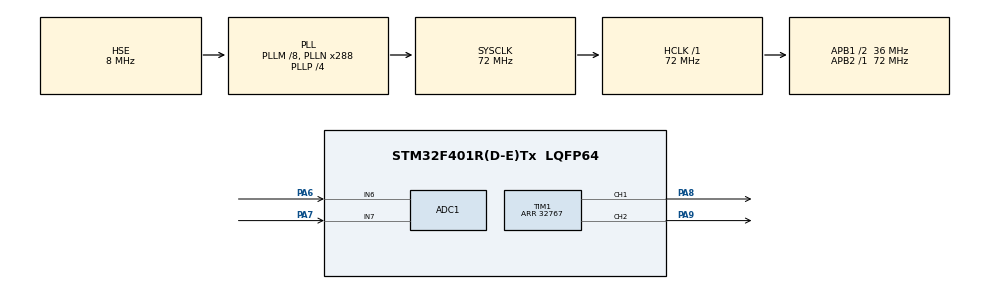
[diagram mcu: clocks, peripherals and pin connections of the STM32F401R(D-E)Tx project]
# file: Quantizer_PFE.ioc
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ADC1.Channel-4\#ChannelRegularConversion=ADC_CHANNEL_6
ADC1.Channel-5\#ChannelRegularConversion=ADC_CHANNEL_7
ADC1.ContinuousConvMode=ENABLE
ADC1.DMAContinuousRequests=ENABLE
ADC1.NbrOfConversion=2
ADC1.NbrOfConversionFlag=1
ADC1.Rank-4\#ChannelRegularConversion=1
ADC1.Rank-5\#ChannelRegularConversion=2
ADC1.SamplingTime-4\#ChannelRegularConversion=ADC_SAMPLETIME_480CYCLES
ADC1.SamplingTime-5\#ChannelRegularConversion=ADC_SAMPLETIME_480CYCLES
ADC1.ScanConvMode=ENABLE
ADC1.master=1
Dma.ADC1.0.Direction=DMA_PERIPH_TO_MEMORY
Dma.ADC1.0.FIFOMode=DMA_FIFOMODE_DISABLE
Dma.ADC1.0.Instance=DMA2_Stream0
Dma.ADC1.0.MemDataAlignment=DMA_MDATAALIGN_WORD
Dma.ADC1.0.MemInc=DMA_MINC_ENABLE
Dma.ADC1.0.Mode=DMA_CIRCULAR
Dma.ADC1.0.PeriphDataAlignment=DMA_PDATAALIGN_WORD
Dma.ADC1.0.PeriphInc=DMA_PINC_DISABLE
Dma.ADC1.0.Priority=DMA_PRIORITY_LOW
Dma.Request0=ADC1
Mcu.Family=STM32F4
Mcu.Name=STM32F401R(D-E)Tx
Mcu.Package=LQFP64
NVIC.DMA2_Stream0_IRQn=true\:0\:0\:false\:false\:true\:false\:true\:true
NVIC.PriorityGroup=NVIC_PRIORITYGROUP_4
PA6.Signal=ADCx_IN6
PA7.Signal=ADCx_IN7
PA8.Signal=S_TIM1_CH1
PA9.Signal=S_TIM1_CH2
PC14-OSC32_IN.Mode=LSE-External-Oscillator
PC14-OSC32_IN.Signal=RCC_OSC32_IN
PC15-OSC32_OUT.Mode=LSE-External-Oscillator
PC15-OSC32_OUT.Signal=RCC_OSC32_OUT
PH0\ -\ OSC_IN.Mode=HSE-External-Oscillator
PH0\ -\ OSC_IN.Signal=RCC_OSC_IN
PH1\ -\ OSC_OUT.Mode=HSE-External-Oscillator
PH1\ -\ OSC_OUT.Signal=RCC_OSC_OUT
ProjectManager.HeapSize=0x200
ProjectManager.StackSize=0x400
ProjectManager.TargetToolchain=STM32CubeIDE
RCC.48MHZClocksFreq_Value=41142857.14285714
RCC.AHBFreq_Value=72000000
RCC.APB1CLKDivider=RCC_HCLK_DIV2
RCC.APB1Freq_Value=36000000
RCC.APB1TimFreq_Value=72000000
RCC.APB2Freq_Value=72000000
RCC.APB2TimFreq_Value=72000000
RCC.CortexFreq_Value=72000000
RCC.HCLKFreq_Value=72000000
RCC.HSE_VALUE=8000000
RCC.HSI_VALUE=16000000
RCC.PLLM=8
RCC.PLLN=288
RCC.PLLP=RCC_PLLP_DIV4
RCC.PLLQ=7
RCC.PLLSourceVirtual=RCC_PLLSOURCE_HSE
RCC.SYSCLKFreq_VALUE=72000000
RCC.SYSCLKSource=RCC_SYSCLKSOURCE_PLLCLK
RCC.VCOOutputFreq_Value=288000000
SH.ADCx_IN6.0=ADC1_IN6,IN6
SH.ADCx_IN7.0=ADC1_IN7,IN7
SH.S_TIM1_CH1.0=TIM1_CH1,PWM Generation1 CH1
SH.S_TIM1_CH2.0=TIM1_CH2,PWM Generation2 CH2
TIM1.AutoReloadPreload=TIM_AUTORELOAD_PRELOAD_ENABLE
TIM1.Channel-PWM\ Generation1\ CH1=TIM_CHANNEL_1
TIM1.Channel-PWM\ Generation2\ CH2=TIM_CHANNEL_2
TIM1.Period=32767
board=NUCLEO-F401RE

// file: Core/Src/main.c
/* USER CODE BEGIN Header */
/**
  ******************************************************************************
  * @file           : main.c
  * @brief          : Main program body
  ******************************************************************************
  * @attention
  *
  * Copyright (c) 2026 STMicroelectronics.
  * All rights reserved.
  *
  * This software is licensed under terms that can be found in the LICENSE file
  * in the root directory of this software component.
  * If no LICENSE file comes with this software, it is provided AS-IS.
  *
  ******************************************************************************
  */
/* USER CODE END Header */
#include "main.h"

/* USER CODE BEGIN PD */
#define QUANTIZE_LEVELS 10

uint32_t AD_RES_BUFFER[2];
uint32_t QUANTIZE_REF[3][10] = { { 0, 400, 800, 1200, 1600, 2000, 2400, 2800, 3200, 4000 },
								 { 0, 10,  20,  40,   80,   160,  380,  760,  1520, 3040 },
								 { 0, 100,  100, 1000,  1000,  2000,  2000,  2500,  2500, 3040 }
};  //Prototype : on peut quantizer sur 3 valeurs, 0% 50% et 100% de Vref

uint16_t temp_ad_res1 = 0;
uint16_t temp_ad_res2 = 0;
uint16_t scale = 0;

/* USER CODE END PD */

ADC_HandleTypeDef hadc1;
DMA_HandleTypeDef hdma_adc1;

TIM_HandleTypeDef htim1;

void SystemClock_Config(void);
static void MX_GPIO_Init(void);
static void MX_DMA_Init(void);
static void MX_ADC1_Init(void);
static void MX_TIM1_Init(void);

int main(void)
{

  /* MCU Configuration--------------------------------------------------------*/

  /* Reset of all peripherals, Initializes the Flash interface and the Systick. */
  HAL_Init();

  /* Configure the system clock */
  SystemClock_Config();

  /* Initialize all configured peripherals */
  MX_GPIO_Init();
  MX_DMA_Init();
  MX_ADC1_Init();
  MX_TIM1_Init();
  /* USER CODE BEGIN 2 */
  HAL_TIM_PWM_Start(&htim1, TIM_CHANNEL_1);
  HAL_TIM_PWM_Start(&htim1, TIM_CHANNEL_2);
  HAL_ADC_Start_DMA(&hadc1, AD_RES_BUFFER, 2);

  /* USER CODE END 2 */

  /* Infinite loop */
  while (1)
  {

  }
}

void SystemClock_Config(void)
{
  RCC_OscInitTypeDef RCC_OscInitStruct = {0};
  RCC_ClkInitTypeDef RCC_ClkInitStruct = {0};

  /** Configure the main internal regulator output voltage
  */
  __HAL_RCC_PWR_CLK_ENABLE();
  __HAL_PWR_VOLTAGESCALING_CONFIG(PWR_REGULATOR_VOLTAGE_SCALE2);

  /** Initializes the RCC Oscillators according to the specified parameters
  * in the RCC_OscInitTypeDef structure.
  */
  RCC_OscInitStruct.OscillatorType = RCC_OSCILLATORTYPE_HSE;
  RCC_OscInitStruct.HSEState = RCC_HSE_ON;
  RCC_OscInitStruct.PLL.PLLState = RCC_PLL_ON;
  RCC_OscInitStruct.PLL.PLLSource = RCC_PLLSOURCE_HSE;
  RCC_OscInitStruct.PLL.PLLM = 8;
  RCC_OscInitStruct.PLL.PLLN = 288;
  RCC_OscInitStruct.PLL.PLLP = RCC_PLLP_DIV4;
  RCC_OscInitStruct.PLL.PLLQ = 7;
  if (HAL_RCC_OscConfig(&RCC_OscInitStruct) != HAL_OK)
  {
    Error_Handler();
  }

  /** Initializes the CPU, AHB and APB buses clocks
  */
  RCC_ClkInitStruct.ClockType = RCC_CLOCKTYPE_HCLK|RCC_CLOCKTYPE_SYSCLK
                              |RCC_CLOCKTYPE_PCLK1|RCC_CLOCKTYPE_PCLK2;
  RCC_ClkInitStruct.SYSCLKSource = RCC_SYSCLKSOURCE_PLLCLK;
  RCC_ClkInitStruct.AHBCLKDivider = RCC_SYSCLK_DIV1;
  RCC_ClkInitStruct.APB1CLKDivider = RCC_HCLK_DIV2;
  RCC_ClkInitStruct.APB2CLKDivider = RCC_HCLK_DIV1;

  if (HAL_RCC_ClockConfig(&RCC_ClkInitStruct, FLASH_LATENCY_2) != HAL_OK)
  {
    Error_Handler();
  }
}

static void MX_ADC1_Init(void)
{

  ADC_ChannelConfTypeDef sConfig = {0};

  /** Configure the global features of the ADC (Clock, Resolution, Data Alignment and number of conversion)
  */
  hadc1.Instance = ADC1;
  hadc1.Init.ClockPrescaler = ADC_CLOCK_SYNC_PCLK_DIV2;
  hadc1.Init.Resolution = ADC_RESOLUTION_12B;
  hadc1.Init.ScanConvMode = ENABLE;
  hadc1.Init.ContinuousConvMode = ENABLE;
  hadc1.Init.DiscontinuousConvMode = DISABLE;
  hadc1.Init.ExternalTrigConvEdge = ADC_EXTERNALTRIGCONVEDGE_NONE;
  hadc1.Init.ExternalTrigConv = ADC_SOFTWARE_START;
  hadc1.Init.DataAlign = ADC_DATAALIGN_RIGHT;
  hadc1.Init.NbrOfConversion = 2;
  hadc1.Init.DMAContinuousRequests = ENABLE;
  hadc1.Init.EOCSelection = ADC_EOC_SINGLE_CONV;
  if (HAL_ADC_Init(&hadc1) != HAL_OK)
  {
    Error_Handler();
  }

  /** Configure for the selected ADC regular channel its corresponding rank in the sequencer and its sample time.
  */
  sConfig.Channel = ADC_CHANNEL_6;
  sConfig.Rank = 1;
  sConfig.SamplingTime = ADC_SAMPLETIME_480CYCLES;
  if (HAL_ADC_ConfigChannel(&hadc1, &sConfig) != HAL_OK)
  {
    Error_Handler();
  }

  /** Configure for the selected ADC regular channel its corresponding rank in the sequencer and its sample time.
  */
  sConfig.Channel = ADC_CHANNEL_7;
  sConfig.Rank = 2;
  if (HAL_ADC_ConfigChannel(&hadc1, &sConfig) != HAL_OK)
  {
    Error_Handler();
  }

}

static void MX_TIM1_Init(void)
{

  TIM_MasterConfigTypeDef sMasterConfig = {0};
  TIM_OC_InitTypeDef sConfigOC = {0};
  TIM_BreakDeadTimeConfigTypeDef sBreakDeadTimeConfig = {0};

  htim1.Instance = TIM1;
  htim1.Init.Prescaler = 0;
  htim1.Init.CounterMode = TIM_COUNTERMODE_UP;
  htim1.Init.Period = 32767;
  htim1.Init.ClockDivision = TIM_CLOCKDIVISION_DIV1;
  htim1.Init.RepetitionCounter = 0;
  htim1.Init.AutoReloadPreload = TIM_AUTORELOAD_PRELOAD_ENABLE;
  if (HAL_TIM_PWM_Init(&htim1) != HAL_OK)
  {
    Error_Handler();
  }
  sMasterConfig.MasterOutputTrigger = TIM_TRGO_RESET;
  sMasterConfig.MasterSlaveMode = TIM_MASTERSLAVEMODE_DISABLE;
  if (HAL_TIMEx_MasterConfigSynchronization(&htim1, &sMasterConfig) != HAL_OK)
  {
    Error_Handler();
  }
  sConfigOC.OCMode = TIM_OCMODE_PWM1;
  sConfigOC.Pulse = 0;
  sConfigOC.OCPolarity = TIM_OCPOLARITY_HIGH;
  sConfigOC.OCNPolarity = TIM_OCNPOLARITY_HIGH;
  sConfigOC.OCFastMode = TIM_OCFAST_DISABLE;
  sConfigOC.OCIdleState = TIM_OCIDLESTATE_RESET;
  sConfigOC.OCNIdleState = TIM_OCNIDLESTATE_RESET;
  if (HAL_TIM_PWM_ConfigChannel(&htim1, &sConfigOC, TIM_CHANNEL_1) != HAL_OK)
  {
    Error_Handler();
  }
  if (HAL_TIM_PWM_ConfigChannel(&htim1, &sConfigOC, TIM_CHANNEL_2) != HAL_OK)
  {
    Error_Handler();
  }
  sBreakDeadTimeConfig.OffStateRunMode = TIM_OSSR_DISABLE;
  sBreakDeadTimeConfig.OffStateIDLEMode = TIM_OSSI_DISABLE;
  sBreakDeadTimeConfig.LockLevel = TIM_LOCKLEVEL_OFF;
  sBreakDeadTimeConfig.DeadTime = 0;
  sBreakDeadTimeConfig.BreakState = TIM_BREAK_DISABLE;
  sBreakDeadTimeConfig.BreakPolarity = TIM_BREAKPOLARITY_HIGH;
  sBreakDeadTimeConfig.AutomaticOutput = TIM_AUTOMATICOUTPUT_DISABLE;
  if (HAL_TIMEx_ConfigBreakDeadTime(&htim1, &sBreakDeadTimeConfig) != HAL_OK)
  {
    Error_Handler();
  }
  HAL_TIM_MspPostInit(&htim1);

}

static void MX_DMA_Init(void)
{

  /* DMA controller clock enable */
  __HAL_RCC_DMA2_CLK_ENABLE();

  /* DMA interrupt init */
  /* DMA2_Stream0_IRQn interrupt configuration */
  HAL_NVIC_SetPriority(DMA2_Stream0_IRQn, 0, 0);
  HAL_NVIC_EnableIRQ(DMA2_Stream0_IRQn);

}

static void MX_GPIO_Init(void)
{

  /* GPIO Ports Clock Enable */
  __HAL_RCC_GPIOC_CLK_ENABLE();
  __HAL_RCC_GPIOH_CLK_ENABLE();
  __HAL_RCC_GPIOA_CLK_ENABLE();

}

/* USER CODE BEGIN 4 */

void HAL_ADC_ConvCpltCallback(ADC_HandleTypeDef* hadc)
{
	uint16_t scale = 2;

	for (int i = 0; i < 2; i++)
	{
	    uint32_t val = AD_RES_BUFFER[i];
	    uint32_t quantized = QUANTIZE_REF[scale][0]; // par défaut, première borne

	    for(int q = 0; q < QUANTIZE_LEVELS-1; q++)
	    {
	    	if(val == 0){
	    		quantized = 0;
	    		break;
	    	}
	        if(val > QUANTIZE_REF[scale][q] && val < QUANTIZE_REF[0][q+1])
	        {
	            quantized = QUANTIZE_REF[scale][q];
	            break;
	        }
	        else if (val > QUANTIZE_REF[scale][QUANTIZE_LEVELS-1])
	        {
	        	quantized = QUANTIZE_REF[scale][QUANTIZE_LEVELS-1];
	        	break;

	        }

	        quantized = QUANTIZE_REF[scale][q];
	    }

	    AD_RES_BUFFER[i] = quantized;

	    switch(i)
	    {
	        case 0: temp_ad_res1 = quantized; break;
	        case 1: temp_ad_res2 = quantized; break;
	        default: break;
	    }
	}

    TIM1->CCR1 = (temp_ad_res1 << 3);
    TIM1->CCR2 = (temp_ad_res2 << 3);
}

/* USER CODE END 4 */

void Error_Handler(void)
{
  __disable_irq();
  while (1)
  {
  }
}
